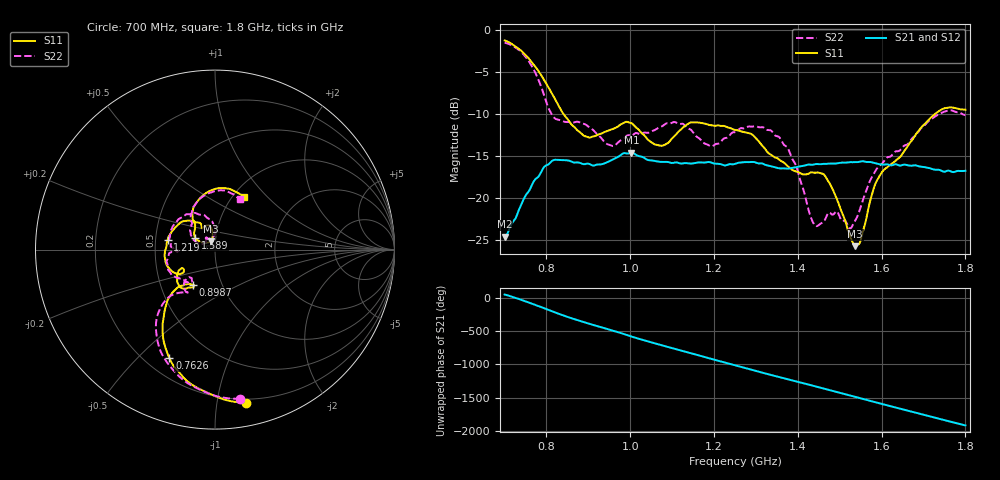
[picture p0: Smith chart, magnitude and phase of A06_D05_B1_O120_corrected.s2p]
! Created with skrf 1.9.0 (http://scikit-rf.org).
# Hz S RI R 50.0
!freq ReS11 ImS11 ReS21 ImS21 ReS12 ImS12 ReS22 ImS22
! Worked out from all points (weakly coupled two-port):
!   1601 points, 700 MHz to 1.8 GHz, reference 50 ohm
!   highest |S21| = -14.56 dB at 1.002 GHz (marker M1); lowest = -24.5 dB at 700 MHz (marker M2)
!   lowest |S11| = -25.7 dB at 1.537 GHz (marker M3), VSWR 1.11, Z = 47.6 + j4.49 ohm
!   |S11| at or under -10 dB: 841 MHz to 1.726 GHz (885.4 MHz wide, 69 % of centre)
!   |S22| runs from -23.6 to -1.5 dB; largest |S21 - S12| = 0.0035
!   S11 on the Smith chart (normalised r, x): 700 MHz: 0.17, -1.21; 762.6 MHz: 0.29, -0.62; 898.7 MHz: 0.73, -0.30; 1.219 GHz: 0.58, +0.07; 1.589 GHz: 0.80, +0.11; 1.8 GHz: 1.13, +0.75
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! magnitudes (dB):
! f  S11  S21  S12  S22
! 700 MHz  -1.2  -24.5  -24.3  -1.5
! 762.6 MHz  -3.7  -18.7  -18.7  -4.1
! 816.9 MHz  -7.9  -15.4  -15.5  -10.3
! 883.6 MHz  -12.3  -15.9  -15.8  -11.1
! 898.7 MHz  -12.7  -15.9  -15.9  -11.4
! 955.8 MHz  -11.8  -15.4  -15.4  -13.7
! 1.002 GHz  -11.1  -14.6  -14.7  -12.5
! 1.067 GHz  -13.7  -15.6  -15.6  -11.6
! 1.144 GHz  -11.0  -15.9  -15.9  -11.8
! 1.19 GHz  -11.3  -15.7  -15.7  -13.8
! 1.219 GHz  -11.4  -16.0  -16.0  -13.1
! 1.25 GHz  -11.9  -15.9  -15.8  -12.1
! 1.357 GHz  -15.4  -16.4  -16.4  -12.8
! 1.395 GHz  -16.8  -16.3  -16.3  -16.0
! 1.434 GHz  -16.9  -16.0  -16.0  -22.6
! 1.473 GHz  -18.0  -15.9  -15.9  -21.7
! 1.537 GHz  -25.7  -15.7  -15.7  -22.7
! 1.55 GHz  -24.9  -15.6  -15.6  -21.0
! 1.589 GHz  -17.9  -15.9  -15.9  -16.4
! 1.617 GHz  -16.1  -16.0  -16.0  -15.1
! 1.733 GHz  -9.8  -16.6  -16.6  -10.1
! 1.8 GHz  -9.5  -16.7  -16.7  -10.1
